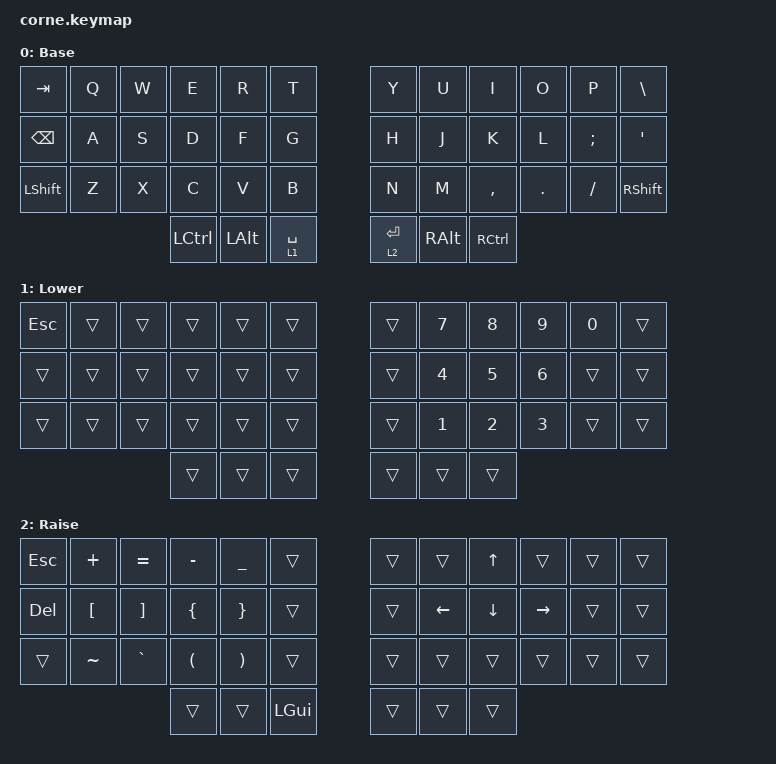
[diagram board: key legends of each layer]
/*
 * Copyright (c) 2020 The ZMK Contributors
 *
 * SPDX-License-Identifier: MIT
 */

#include <behaviors.dtsi>
#include <dt-bindings/zmk/keys.h>
#include <dt-bindings/zmk/bt.h>

&lt {
    flavor = "balanced";
    tapping-term-ms = <100>;
};

/ {
        keymap {
                compatible = "zmk,keymap";

                default_layer {
// -----------------------------------------------------------------------------------------
// |  TAB  |  Q  |  W  |  E  |  R  |  T  |        |  Y  |  U   |  I  |  O  |  P  |  \   |
// | BKSP  |  A  |  S  |  D  |  F  |  G  |        |  H  |  J   |  K  |  L  |  ;  |  '   |
// | SHFT  |  Z  |  X  |  C  |  V  |  B  |        |  N  |  M   |  ,  |  .  |  /  | SHFT |
//         | CTRL| ALT | LT(lower, SPC)  |        | LT(raise, ENT) | ALT  | CTRL|
                        label = "Base";
                        bindings = <
   &kp TAB   &kp Q &kp W &kp E &kp R &kp T        &kp Y &kp U  &kp I     &kp O   &kp P    &kp BSLH
   &kp BSPC  &kp A &kp S &kp D &kp F &kp G        &kp H &kp J  &kp K     &kp L   &kp SEMI &kp SQT
   &kp LSHFT &kp Z &kp X &kp C &kp V &kp B        &kp N &kp M  &kp COMMA &kp DOT &kp FSLH &kp RSHFT
            &kp LCTRL &kp LALT &lt 1 SPACE        &lt 2 RET &kp RALT &kp RCTRL
                        >;
                };


                lower_layer {
// -----------------------------------------------------------------------------------------
// |  ESC  |        |        |         |      |     |     |     |   7   |    8     |   9    |    0    |      |
// |       |        |        |         |      |     |     |     |   4   |    5     |   6    |         |      |
// |       |        |        |         |      |     |     |     |   1   |    2     |   3    |         |      |
//                           |         |      |     |     |     |       |          |
                        label = "Lower";
                        bindings = <
   &kp ESC &trans   &trans   &trans    &trans &trans      &trans &kp N7   &kp N8    &kp N9  &kp N0 &trans
   &trans  &trans   &trans   &trans    &trans &trans      &trans &kp N4   &kp N5    &kp N6  &trans &trans
   &trans  &trans   &trans   &trans    &trans &trans      &trans &kp N1   &kp N2    &kp N3  &trans &trans
                             &trans    &trans &trans      &trans   &trans &trans
                        >;
                };

                raise_layer {
// ---------------------------------------------------------------------------------------------------
// |  ESC  |   +      |   =   |    -    |    _    |     |  |     |      |  UP  |       |     |     |
// |  DEL  |   [      |   ]   |    {    |    }    |     |  |     | LEFT | DOWN | RIGHT |     |     |
// |       |   ~      |   `   |    (    |    )    |     |  |     |      |      |       |     |     |
//                            |         |         | GUI |  |     |      |      |
                        label = "Raise";
                        bindings = <
   &kp ESC &kp PLUS  &kp EQUAL &kp MINUS &kp UNDER &trans   &trans &trans   &kp UP   &trans    &trans &trans
   &kp DEL &kp LBKT  &kp RBKT  &kp LBRC  &kp RBRC  &trans   &trans &kp LEFT &kp DOWN &kp RIGHT &trans &trans
   &trans  &kp TILDE &kp GRAVE &kp LPAR  &kp RPAR  &trans   &trans &trans   &trans   &trans    &trans &trans
                               &trans    &trans    &kp LGUI &trans &trans &trans
                        >;
                };


        };
};
